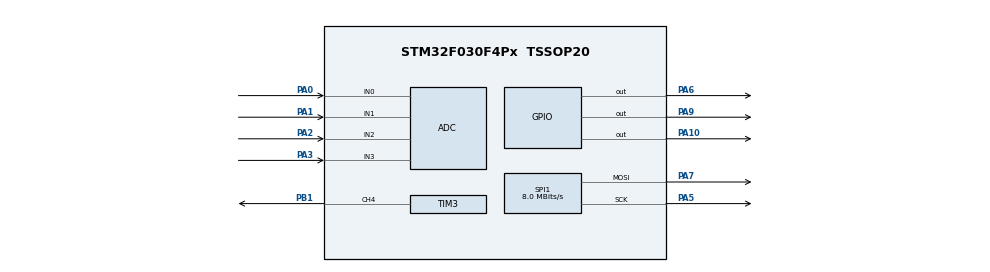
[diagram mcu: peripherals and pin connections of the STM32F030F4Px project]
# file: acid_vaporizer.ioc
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Mcu.Family=STM32F0
Mcu.Name=STM32F030F4Px
Mcu.Package=TSSOP20
PA0.Mode=IN0
PA0.Signal=ADC_IN0
PA1.Mode=IN1
PA1.Signal=ADC_IN1
PA10.Signal=GPIO_Output
PA13.Mode=Serial_Wire
PA13.Signal=SYS_SWDIO
PA14.Mode=Serial_Wire
PA14.Signal=SYS_SWCLK
PA2.Mode=IN2
PA2.Signal=ADC_IN2
PA3.Mode=IN3
PA3.Signal=ADC_IN3
PA5.Mode=TX_Only_Simplex_Unidirect_Master
PA5.Signal=SPI1_SCK
PA6.Signal=GPIO_Output
PA7.Mode=TX_Only_Simplex_Unidirect_Master
PA7.Signal=SPI1_MOSI
PA9.Signal=GPIO_Output
PB1.Signal=S_TIM3_CH4
PF0-OSC_IN.Mode=HSE-External-Oscillator
PF0-OSC_IN.Signal=RCC_OSC_IN
PF1-OSC_OUT.Mode=HSE-External-Oscillator
PF1-OSC_OUT.Signal=RCC_OSC_OUT
ProjectManager.HeapSize=0x200
ProjectManager.StackSize=0x400
ProjectManager.TargetToolchain=STM32CubeIDE
RCC.AHBFreq_Value=16000000
RCC.APB1Freq_Value=16000000
RCC.APB1TimFreq_Value=16000000
RCC.HCLKFreq_Value=16000000
RCC.PLLSourceVirtual=RCC_PLLSOURCE_HSE
RCC.SYSCLKFreq_VALUE=16000000
RCC.SYSCLKSource=RCC_SYSCLKSOURCE_PLLCLK
SH.S_TIM3_CH4.0=TIM3_CH4,PWM Generation4 CH4
SPI1.CLKPhase=SPI_PHASE_2EDGE
SPI1.CLKPolarity=SPI_POLARITY_HIGH
SPI1.CalculateBaudRate=8.0 MBits/s
SPI1.DataSize=SPI_DATASIZE_8BIT
SPI1.Direction=SPI_DIRECTION_2LINES
SPI1.Mode=SPI_MODE_MASTER
SPI1.VirtualType=VM_MASTER
TIM3.Channel-PWM\ Generation4\ CH4=TIM_CHANNEL_4
VP_TIM14_VS_ClockSourceINT.Mode=Enable_Timer
VP_TIM3_VS_ClockSourceINT.Mode=Internal
board=custom

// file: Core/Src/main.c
/* USER CODE BEGIN Header */
/**
  ******************************************************************************
  * @file           : main.c
  * @brief          : Main program body
  ******************************************************************************
  * @attention
  *
  * <h2><center>&copy; Copyright (c) 2020 STMicroelectronics.
  * All rights reserved.</center></h2>
  *
  * This software component is licensed by ST under BSD 3-Clause license,
  * the "License"; You may not use this file except in compliance with the
  * License. You may obtain a copy of the License at:
  *                        opensource.org/licenses/BSD-3-Clause
  *
  ******************************************************************************
  */
/* USER CODE END Header */
#include "main.h"

/* USER CODE BEGIN Includes */
#include "display.h"
#include "sensors.h"
#include "load_control.h"
#include "pi_controller.h"

/* USER CODE END Includes */

/* USER CODE BEGIN PV */
uint16_t desiredTemp;
	SENSORS_Readings readings;
/* USER CODE END PV */

void SystemClock_Config(void);
static void MX_GPIO_Init(void);
static void MX_ADC_Init(void);
static void MX_SPI1_Init(void);
static void MX_TIM3_Init(void);
static void MX_TIM14_Init(void);

/* USER CODE BEGIN 0 */
static void onLoadCycleEnd(void)
{
	uint16_t output = 0;

	readings = SENSORS_getReadings();

	output = PI_process(readings.coldJunctionTemp + readings.thermocoupleTemp);

	if (output > UINT8_MAX)
	{
		output = UINT8_MAX;
	}

	LOAD_CONTROL_setLoad(output);
}
/* USER CODE END 0 */

int main(void)
{

  /* MCU Configuration--------------------------------------------------------*/

  /* Reset of all peripherals, Initializes the Flash interface and the Systick. */

  LL_APB1_GRP2_EnableClock(LL_APB1_GRP2_PERIPH_SYSCFG);
  LL_APB1_GRP1_EnableClock(LL_APB1_GRP1_PERIPH_PWR);

  /* System interrupt init*/

  /* Configure the system clock */
  SystemClock_Config();

  /* Initialize all configured peripherals */
  MX_GPIO_Init();
  MX_ADC_Init();
  MX_SPI1_Init();
  MX_TIM3_Init();
  MX_TIM14_Init();
  /* USER CODE BEGIN 2 */
  DISPLAY_Init();
  SENSORS_init();
  LOAD_CONTROL_init();

  uint8_t loopsWithoutChange = 0;
  uint16_t potValue = 0;

  DISPLAY_StartBlinking();

  while (loopsWithoutChange < 10)
  {
	  LL_mDelay(500);
	  readings = SENSORS_getReadings();

	  if ((readings.potentiometerAngle <= potValue + 1)
		  && (readings.potentiometerAngle >= potValue - 1))
	  {
		  loopsWithoutChange++;
	  }
	  else
	  {
		  loopsWithoutChange = 0;
	  }

	  potValue = readings.potentiometerAngle;
	  DISPLAY_SetNumber(200 + potValue);
  }

  desiredTemp = 200 + potValue;

  PI_params controllerParams =
  {
  		.desired = desiredTemp,
		.integratorCoef = 0.1,
		.proportionalCoef = 4.0,
		.integratorMax = 250,
		.integratorMin = -200,
  };

  DISPLAY_StopBlinking();

  PI_init(&controllerParams);

  LOAD_CONTROL_setCycleEndedCallback(onLoadCycleEnd);
  /* USER CODE END 2 */

  /* Infinite loop */
  while (1)
  {
    LL_mDelay(1000);
    DISPLAY_SetNumber(readings.thermocoupleTemp + readings.coldJunctionTemp);

  }
}

void SystemClock_Config(void)
{
  LL_FLASH_SetLatency(LL_FLASH_LATENCY_0);
  while(LL_FLASH_GetLatency() != LL_FLASH_LATENCY_0)
  {
  }
  LL_RCC_HSE_Enable();

   /* Wait till HSE is ready */
  while(LL_RCC_HSE_IsReady() != 1)
  {

  }
  LL_RCC_HSI14_Enable();

   /* Wait till HSI14 is ready */
  while(LL_RCC_HSI14_IsReady() != 1)
  {

  }
  LL_RCC_HSI14_SetCalibTrimming(16);
  LL_RCC_PLL_ConfigDomain_SYS(LL_RCC_PLLSOURCE_HSE_DIV_1, LL_RCC_PLL_MUL_2);
  LL_RCC_PLL_Enable();

   /* Wait till PLL is ready */
  while(LL_RCC_PLL_IsReady() != 1)
  {

  }
  LL_RCC_SetAHBPrescaler(LL_RCC_SYSCLK_DIV_1);
  LL_RCC_SetAPB1Prescaler(LL_RCC_APB1_DIV_1);
  LL_RCC_SetSysClkSource(LL_RCC_SYS_CLKSOURCE_PLL);

   /* Wait till System clock is ready */
  while(LL_RCC_GetSysClkSource() != LL_RCC_SYS_CLKSOURCE_STATUS_PLL)
  {

  }
  LL_Init1msTick(16000000);
  LL_SetSystemCoreClock(16000000);
  LL_RCC_HSI14_EnableADCControl();
}

static void MX_ADC_Init(void)
{

  LL_ADC_InitTypeDef ADC_InitStruct = {0};
  LL_ADC_REG_InitTypeDef ADC_REG_InitStruct = {0};

  LL_GPIO_InitTypeDef GPIO_InitStruct = {0};

  /* Peripheral clock enable */
  LL_APB1_GRP2_EnableClock(LL_APB1_GRP2_PERIPH_ADC1);

  LL_AHB1_GRP1_EnableClock(LL_AHB1_GRP1_PERIPH_GPIOA);
  /**ADC GPIO Configuration
  PA0   ------> ADC_IN0
  PA1   ------> ADC_IN1
  PA2   ------> ADC_IN2
  PA3   ------> ADC_IN3
  */
  GPIO_InitStruct.Pin = LL_GPIO_PIN_0;
  GPIO_InitStruct.Mode = LL_GPIO_MODE_ANALOG;
  GPIO_InitStruct.Pull = LL_GPIO_PULL_NO;
  LL_GPIO_Init(GPIOA, &GPIO_InitStruct);

  GPIO_InitStruct.Pin = LL_GPIO_PIN_1;
  GPIO_InitStruct.Mode = LL_GPIO_MODE_ANALOG;
  GPIO_InitStruct.Pull = LL_GPIO_PULL_NO;
  LL_GPIO_Init(GPIOA, &GPIO_InitStruct);

  GPIO_InitStruct.Pin = LL_GPIO_PIN_2;
  GPIO_InitStruct.Mode = LL_GPIO_MODE_ANALOG;
  GPIO_InitStruct.Pull = LL_GPIO_PULL_NO;
  LL_GPIO_Init(GPIOA, &GPIO_InitStruct);

  GPIO_InitStruct.Pin = LL_GPIO_PIN_3;
  GPIO_InitStruct.Mode = LL_GPIO_MODE_ANALOG;
  GPIO_InitStruct.Pull = LL_GPIO_PULL_NO;
  LL_GPIO_Init(GPIOA, &GPIO_InitStruct);

  /** Configure Regular Channel
  */
  LL_ADC_REG_SetSequencerChAdd(ADC1, LL_ADC_CHANNEL_0);
  /** Configure Regular Channel
  */
  LL_ADC_REG_SetSequencerChAdd(ADC1, LL_ADC_CHANNEL_1);
  /** Configure Regular Channel
  */
  LL_ADC_REG_SetSequencerChAdd(ADC1, LL_ADC_CHANNEL_2);
  /** Configure Regular Channel
  */
  LL_ADC_REG_SetSequencerChAdd(ADC1, LL_ADC_CHANNEL_3);
  /** Configure the global features of the ADC (Clock, Resolution, Data Alignment and number of conversion)
  */
  ADC_InitStruct.Clock = LL_ADC_CLOCK_ASYNC;
  ADC_InitStruct.Resolution = LL_ADC_RESOLUTION_12B;
  ADC_InitStruct.DataAlignment = LL_ADC_DATA_ALIGN_RIGHT;
  ADC_InitStruct.LowPowerMode = LL_ADC_LP_MODE_NONE;
  LL_ADC_Init(ADC1, &ADC_InitStruct);
  ADC_REG_InitStruct.TriggerSource = LL_ADC_REG_TRIG_SOFTWARE;
  ADC_REG_InitStruct.SequencerDiscont = LL_ADC_REG_SEQ_DISCONT_DISABLE;
  ADC_REG_InitStruct.ContinuousMode = LL_ADC_REG_CONV_SINGLE;
  ADC_REG_InitStruct.DMATransfer = LL_ADC_REG_DMA_TRANSFER_LIMITED;
  ADC_REG_InitStruct.Overrun = LL_ADC_REG_OVR_DATA_PRESERVED;
  LL_ADC_REG_Init(ADC1, &ADC_REG_InitStruct);
  LL_ADC_REG_SetSequencerScanDirection(ADC1, LL_ADC_REG_SEQ_SCAN_DIR_FORWARD);
  LL_ADC_SetSamplingTimeCommonChannels(ADC1, LL_ADC_SAMPLINGTIME_1CYCLE_5);

}

static void MX_SPI1_Init(void)
{

  LL_SPI_InitTypeDef SPI_InitStruct = {0};

  LL_GPIO_InitTypeDef GPIO_InitStruct = {0};

  /* Peripheral clock enable */
  LL_APB1_GRP2_EnableClock(LL_APB1_GRP2_PERIPH_SPI1);

  LL_AHB1_GRP1_EnableClock(LL_AHB1_GRP1_PERIPH_GPIOA);
  /**SPI1 GPIO Configuration
  PA5   ------> SPI1_SCK
  PA7   ------> SPI1_MOSI
  */
  GPIO_InitStruct.Pin = LL_GPIO_PIN_5;
  GPIO_InitStruct.Mode = LL_GPIO_MODE_ALTERNATE;
  GPIO_InitStruct.Speed = LL_GPIO_SPEED_FREQ_HIGH;
  GPIO_InitStruct.OutputType = LL_GPIO_OUTPUT_PUSHPULL;
  GPIO_InitStruct.Pull = LL_GPIO_PULL_NO;
  GPIO_InitStruct.Alternate = LL_GPIO_AF_0;
  LL_GPIO_Init(GPIOA, &GPIO_InitStruct);

  GPIO_InitStruct.Pin = LL_GPIO_PIN_7;
  GPIO_InitStruct.Mode = LL_GPIO_MODE_ALTERNATE;
  GPIO_InitStruct.Speed = LL_GPIO_SPEED_FREQ_HIGH;
  GPIO_InitStruct.OutputType = LL_GPIO_OUTPUT_PUSHPULL;
  GPIO_InitStruct.Pull = LL_GPIO_PULL_NO;
  GPIO_InitStruct.Alternate = LL_GPIO_AF_0;
  LL_GPIO_Init(GPIOA, &GPIO_InitStruct);

  /* SPI1 parameter configuration*/
  SPI_InitStruct.TransferDirection = LL_SPI_FULL_DUPLEX;
  SPI_InitStruct.Mode = LL_SPI_MODE_MASTER;
  SPI_InitStruct.DataWidth = LL_SPI_DATAWIDTH_8BIT;
  SPI_InitStruct.ClockPolarity = LL_SPI_POLARITY_HIGH;
  SPI_InitStruct.ClockPhase = LL_SPI_PHASE_2EDGE;
  SPI_InitStruct.NSS = LL_SPI_NSS_SOFT;
  SPI_InitStruct.BaudRate = LL_SPI_BAUDRATEPRESCALER_DIV2;
  SPI_InitStruct.BitOrder = LL_SPI_MSB_FIRST;
  SPI_InitStruct.CRCCalculation = LL_SPI_CRCCALCULATION_DISABLE;
  SPI_InitStruct.CRCPoly = 7;
  LL_SPI_Init(SPI1, &SPI_InitStruct);
  LL_SPI_SetStandard(SPI1, LL_SPI_PROTOCOL_MOTOROLA);
  LL_SPI_DisableNSSPulseMgt(SPI1);

}

static void MX_TIM3_Init(void)
{

  LL_TIM_InitTypeDef TIM_InitStruct = {0};
  LL_TIM_OC_InitTypeDef TIM_OC_InitStruct = {0};

  LL_GPIO_InitTypeDef GPIO_InitStruct = {0};

  /* Peripheral clock enable */
  LL_APB1_GRP1_EnableClock(LL_APB1_GRP1_PERIPH_TIM3);

  TIM_InitStruct.Prescaler = 0;
  TIM_InitStruct.CounterMode = LL_TIM_COUNTERMODE_UP;
  TIM_InitStruct.Autoreload = 65535;
  TIM_InitStruct.ClockDivision = LL_TIM_CLOCKDIVISION_DIV1;
  LL_TIM_Init(TIM3, &TIM_InitStruct);
  LL_TIM_DisableARRPreload(TIM3);
  LL_TIM_SetClockSource(TIM3, LL_TIM_CLOCKSOURCE_INTERNAL);
  LL_TIM_OC_EnablePreload(TIM3, LL_TIM_CHANNEL_CH4);
  TIM_OC_InitStruct.OCMode = LL_TIM_OCMODE_PWM1;
  TIM_OC_InitStruct.OCState = LL_TIM_OCSTATE_DISABLE;
  TIM_OC_InitStruct.OCNState = LL_TIM_OCSTATE_DISABLE;
  TIM_OC_InitStruct.CompareValue = 0;
  TIM_OC_InitStruct.OCPolarity = LL_TIM_OCPOLARITY_HIGH;
  LL_TIM_OC_Init(TIM3, LL_TIM_CHANNEL_CH4, &TIM_OC_InitStruct);
  LL_TIM_OC_DisableFast(TIM3, LL_TIM_CHANNEL_CH4);
  LL_TIM_SetTriggerOutput(TIM3, LL_TIM_TRGO_RESET);
  LL_TIM_DisableMasterSlaveMode(TIM3);
  LL_AHB1_GRP1_EnableClock(LL_AHB1_GRP1_PERIPH_GPIOB);
  /**TIM3 GPIO Configuration
  PB1   ------> TIM3_CH4
  */
  GPIO_InitStruct.Pin = LL_GPIO_PIN_1;
  GPIO_InitStruct.Mode = LL_GPIO_MODE_ALTERNATE;
  GPIO_InitStruct.Speed = LL_GPIO_SPEED_FREQ_LOW;
  GPIO_InitStruct.OutputType = LL_GPIO_OUTPUT_PUSHPULL;
  GPIO_InitStruct.Pull = LL_GPIO_PULL_NO;
  GPIO_InitStruct.Alternate = LL_GPIO_AF_1;
  LL_GPIO_Init(GPIOB, &GPIO_InitStruct);

}

static void MX_TIM14_Init(void)
{

  LL_TIM_InitTypeDef TIM_InitStruct = {0};

  /* Peripheral clock enable */
  LL_APB1_GRP1_EnableClock(LL_APB1_GRP1_PERIPH_TIM14);

  TIM_InitStruct.Prescaler = 0;
  TIM_InitStruct.CounterMode = LL_TIM_COUNTERMODE_UP;
  TIM_InitStruct.Autoreload = 65535;
  TIM_InitStruct.ClockDivision = LL_TIM_CLOCKDIVISION_DIV1;
  LL_TIM_Init(TIM14, &TIM_InitStruct);
  LL_TIM_DisableARRPreload(TIM14);

}

static void MX_GPIO_Init(void)
{
  LL_GPIO_InitTypeDef GPIO_InitStruct = {0};

  /* GPIO Ports Clock Enable */
  LL_AHB1_GRP1_EnableClock(LL_AHB1_GRP1_PERIPH_GPIOF);
  LL_AHB1_GRP1_EnableClock(LL_AHB1_GRP1_PERIPH_GPIOA);
  LL_AHB1_GRP1_EnableClock(LL_AHB1_GRP1_PERIPH_GPIOB);

  /**/
  LL_GPIO_ResetOutputPin(GPIOA, LL_GPIO_PIN_6);

  /**/
  LL_GPIO_ResetOutputPin(GPIOA, LL_GPIO_PIN_9);

  /**/
  LL_GPIO_ResetOutputPin(GPIOA, LL_GPIO_PIN_10);

  /**/
  GPIO_InitStruct.Pin = LL_GPIO_PIN_6;
  GPIO_InitStruct.Mode = LL_GPIO_MODE_OUTPUT;
  GPIO_InitStruct.Speed = LL_GPIO_SPEED_FREQ_LOW;
  GPIO_InitStruct.OutputType = LL_GPIO_OUTPUT_PUSHPULL;
  GPIO_InitStruct.Pull = LL_GPIO_PULL_NO;
  LL_GPIO_Init(GPIOA, &GPIO_InitStruct);

  /**/
  GPIO_InitStruct.Pin = LL_GPIO_PIN_9;
  GPIO_InitStruct.Mode = LL_GPIO_MODE_OUTPUT;
  GPIO_InitStruct.Speed = LL_GPIO_SPEED_FREQ_LOW;
  GPIO_InitStruct.OutputType = LL_GPIO_OUTPUT_PUSHPULL;
  GPIO_InitStruct.Pull = LL_GPIO_PULL_NO;
  LL_GPIO_Init(GPIOA, &GPIO_InitStruct);

  /**/
  GPIO_InitStruct.Pin = LL_GPIO_PIN_10;
  GPIO_InitStruct.Mode = LL_GPIO_MODE_OUTPUT;
  GPIO_InitStruct.Speed = LL_GPIO_SPEED_FREQ_LOW;
  GPIO_InitStruct.OutputType = LL_GPIO_OUTPUT_PUSHPULL;
  GPIO_InitStruct.Pull = LL_GPIO_PULL_NO;
  LL_GPIO_Init(GPIOA, &GPIO_InitStruct);

}

void Error_Handler(void)
{
  __disable_irq();
  while (1)
  {
  }
}

/************************ (C) COPYRIGHT STMicroelectronics *****END OF FILE****/
